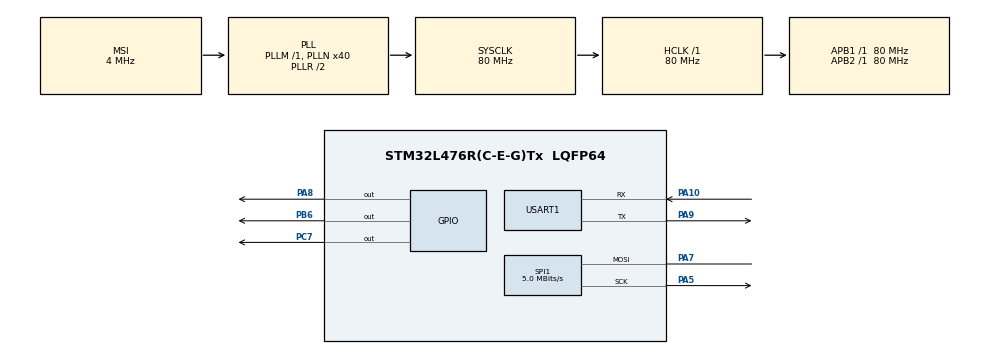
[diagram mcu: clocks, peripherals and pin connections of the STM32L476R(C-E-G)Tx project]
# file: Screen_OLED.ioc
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Mcu.Family=STM32L4
Mcu.Name=STM32L476R(C-E-G)Tx
Mcu.Package=LQFP64
NVIC.PriorityGroup=NVIC_PRIORITYGROUP_4
PA10.Mode=Asynchronous
PA10.Signal=USART1_RX
PA5.Mode=Simplex_Bidirectional_Master
PA5.Signal=SPI1_SCK
PA7.Mode=Simplex_Bidirectional_Master
PA7.Signal=SPI1_MOSI
PA8.Signal=GPIO_Output
PA9.Mode=Asynchronous
PA9.Signal=USART1_TX
PB6.Signal=GPIO_Output
PC7.Signal=GPIO_Output
PH0-OSC_IN\ (PH0).Mode=HSE-External-Oscillator
PH0-OSC_IN\ (PH0).Signal=RCC_OSC_IN
PH1-OSC_OUT\ (PH1).Mode=HSE-External-Oscillator
PH1-OSC_OUT\ (PH1).Signal=RCC_OSC_OUT
ProjectManager.HeapSize=0x200
ProjectManager.StackSize=0x400
ProjectManager.TargetToolchain=STM32CubeIDE
RCC.AHBFreq_Value=80000000
RCC.APB1Freq_Value=80000000
RCC.APB1TimFreq_Value=80000000
RCC.APB2Freq_Value=80000000
RCC.APB2TimFreq_Value=80000000
RCC.CortexFreq_Value=80000000
RCC.HCLKFreq_Value=80000000
RCC.HSE_VALUE=8000000
RCC.HSI_VALUE=16000000
RCC.LSE_VALUE=32768
RCC.MSI_VALUE=4000000
RCC.PLLN=40
RCC.SYSCLKFreq_VALUE=80000000
RCC.SYSCLKSource=RCC_SYSCLKSOURCE_PLLCLK
RCC.VCOOutputFreq_Value=160000000
SPI1.BaudRatePrescaler=SPI_BAUDRATEPRESCALER_16
SPI1.CalculateBaudRate=5.0 MBits/s
SPI1.DataSize=SPI_DATASIZE_8BIT
SPI1.Direction=SPI_DIRECTION_1LINE
SPI1.Mode=SPI_MODE_MASTER
SPI1.VirtualType=VM_MASTER
USART1.VirtualMode-Asynchronous=VM_ASYNC
board=custom

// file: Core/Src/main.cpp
/* USER CODE BEGIN Header */
/**
  ******************************************************************************
  * @file           : main.c
  * @brief          : Main program body
  ******************************************************************************
  * @attention
  *
  * <h2><center>&copy; Copyright (c) 2021 STMicroelectronics.
  * All rights reserved.</center></h2>
  *
  * This software component is licensed by ST under BSD 3-Clause license,
  * the "License"; You may not use this file except in compliance with the
  * License. You may obtain a copy of the License at:
  *                        opensource.org/licenses/BSD-3-Clause
  *
  ******************************************************************************
  */
/* USER CODE END Header */
#include <main.hpp>

SPI_HandleTypeDef hspi1;

UART_HandleTypeDef huart1;

void SystemClock_Config(void);
static void MX_GPIO_Init(void);
static void MX_SPI1_Init(void);
static void MX_USART1_UART_Init(void);

int main(void)
{

  /* MCU Configuration--------------------------------------------------------*/

  /* Reset of all peripherals, Initializes the Flash interface and the Systick. */
  HAL_Init();

  /* Configure the system clock */
  SystemClock_Config();

  /* Initialize all configured peripherals */
  MX_GPIO_Init();
  MX_SPI1_Init();
  MX_USART1_UART_Init();
  /* USER CODE BEGIN 2 */
  ST7735_Init(0);
  ST7735_FillRectangle(0,0,128,160,WHITE);

  ESP8266Interface i(&huart1);
  i.Reset();
  i.StartUp(1);
  i.Connect(SSID, PASSWORD);
  i.ConnectSocket(SOCKET_TYPE, SERVER_IP, SERVER_PORT);

  char command[] = "IP:\"%s\"";
  char buffer[20];
  sprintf(buffer, command, i.GetIP());

  i.Send(0, buffer, 20);
  i.DisconnectSocket();

  i.OpenPort("UDP", 5005);

  ST7735_WriteString(0,0, buffer, 20 ,Font_7x10,0,WHITE);

  char data[500];
  uint32_t size = 0;

  while(1){
	i.Receive(0, data, size);
	if(size > 0){
		ST7735_FillRectangle(0,0,128,160,WHITE);
		ST7735_WriteString(0,0, data, size ,Font_7x10,0,WHITE);
		size = 0;
	}
  }

  /* USER CODE END 2 */

  /* Infinite loop */
  while (1)
  {

  }
}

void SystemClock_Config(void)
{
  RCC_OscInitTypeDef RCC_OscInitStruct = {0};
  RCC_ClkInitTypeDef RCC_ClkInitStruct = {0};
  RCC_PeriphCLKInitTypeDef PeriphClkInit = {0};

  /** Initializes the RCC Oscillators according to the specified parameters
  * in the RCC_OscInitTypeDef structure.
  */
  RCC_OscInitStruct.OscillatorType = RCC_OSCILLATORTYPE_MSI;
  RCC_OscInitStruct.MSIState = RCC_MSI_ON;
  RCC_OscInitStruct.MSICalibrationValue = 0;
  RCC_OscInitStruct.MSIClockRange = RCC_MSIRANGE_6;
  RCC_OscInitStruct.PLL.PLLState = RCC_PLL_ON;
  RCC_OscInitStruct.PLL.PLLSource = RCC_PLLSOURCE_MSI;
  RCC_OscInitStruct.PLL.PLLM = 1;
  RCC_OscInitStruct.PLL.PLLN = 40;
  RCC_OscInitStruct.PLL.PLLP = RCC_PLLP_DIV7;
  RCC_OscInitStruct.PLL.PLLQ = RCC_PLLQ_DIV2;
  RCC_OscInitStruct.PLL.PLLR = RCC_PLLR_DIV2;
  if (HAL_RCC_OscConfig(&RCC_OscInitStruct) != HAL_OK)
  {
    Error_Handler();
  }
  /** Initializes the CPU, AHB and APB buses clocks
  */
  RCC_ClkInitStruct.ClockType = RCC_CLOCKTYPE_HCLK|RCC_CLOCKTYPE_SYSCLK
                              |RCC_CLOCKTYPE_PCLK1|RCC_CLOCKTYPE_PCLK2;
  RCC_ClkInitStruct.SYSCLKSource = RCC_SYSCLKSOURCE_PLLCLK;
  RCC_ClkInitStruct.AHBCLKDivider = RCC_SYSCLK_DIV1;
  RCC_ClkInitStruct.APB1CLKDivider = RCC_HCLK_DIV1;
  RCC_ClkInitStruct.APB2CLKDivider = RCC_HCLK_DIV1;

  if (HAL_RCC_ClockConfig(&RCC_ClkInitStruct, FLASH_LATENCY_4) != HAL_OK)
  {
    Error_Handler();
  }
  PeriphClkInit.PeriphClockSelection = RCC_PERIPHCLK_USART1;
  PeriphClkInit.Usart1ClockSelection = RCC_USART1CLKSOURCE_PCLK2;
  if (HAL_RCCEx_PeriphCLKConfig(&PeriphClkInit) != HAL_OK)
  {
    Error_Handler();
  }
  /** Configure the main internal regulator output voltage
  */
  if (HAL_PWREx_ControlVoltageScaling(PWR_REGULATOR_VOLTAGE_SCALE1) != HAL_OK)
  {
    Error_Handler();
  }
}

static void MX_SPI1_Init(void)
{

  /* SPI1 parameter configuration*/
  hspi1.Instance = SPI1;
  hspi1.Init.Mode = SPI_MODE_MASTER;
  hspi1.Init.Direction = SPI_DIRECTION_1LINE;
  hspi1.Init.DataSize = SPI_DATASIZE_8BIT;
  hspi1.Init.CLKPolarity = SPI_POLARITY_LOW;
  hspi1.Init.CLKPhase = SPI_PHASE_1EDGE;
  hspi1.Init.NSS = SPI_NSS_SOFT;
  hspi1.Init.BaudRatePrescaler = SPI_BAUDRATEPRESCALER_16;
  hspi1.Init.FirstBit = SPI_FIRSTBIT_MSB;
  hspi1.Init.TIMode = SPI_TIMODE_DISABLE;
  hspi1.Init.CRCCalculation = SPI_CRCCALCULATION_DISABLE;
  hspi1.Init.CRCPolynomial = 7;
  hspi1.Init.CRCLength = SPI_CRC_LENGTH_DATASIZE;
  hspi1.Init.NSSPMode = SPI_NSS_PULSE_ENABLE;
  if (HAL_SPI_Init(&hspi1) != HAL_OK)
  {
    Error_Handler();
  }

}

static void MX_USART1_UART_Init(void)
{

  huart1.Instance = USART1;
  huart1.Init.BaudRate = 460800;
  huart1.Init.WordLength = UART_WORDLENGTH_8B;
  huart1.Init.StopBits = UART_STOPBITS_1;
  huart1.Init.Parity = UART_PARITY_NONE;
  huart1.Init.Mode = UART_MODE_TX_RX;
  huart1.Init.HwFlowCtl = UART_HWCONTROL_NONE;
  huart1.Init.OverSampling = UART_OVERSAMPLING_16;
  huart1.Init.OneBitSampling = UART_ONE_BIT_SAMPLE_DISABLE;
  huart1.AdvancedInit.AdvFeatureInit = UART_ADVFEATURE_NO_INIT;
  if (HAL_UART_Init(&huart1) != HAL_OK)
  {
    Error_Handler();
  }

}

static void MX_GPIO_Init(void)
{
  GPIO_InitTypeDef GPIO_InitStruct = {0};

  /* GPIO Ports Clock Enable */
  __HAL_RCC_GPIOH_CLK_ENABLE();
  __HAL_RCC_GPIOA_CLK_ENABLE();
  __HAL_RCC_GPIOC_CLK_ENABLE();
  __HAL_RCC_GPIOB_CLK_ENABLE();

  /*Configure GPIO pin Output Level */
  HAL_GPIO_WritePin(GPIOC, GPIO_PIN_7, GPIO_PIN_RESET);

  /*Configure GPIO pin Output Level */
  HAL_GPIO_WritePin(GPIOA, GPIO_PIN_8, GPIO_PIN_RESET);

  /*Configure GPIO pin Output Level */
  HAL_GPIO_WritePin(GPIOB, GPIO_PIN_6, GPIO_PIN_RESET);

  /*Configure GPIO pin : PC7 */
  GPIO_InitStruct.Pin = GPIO_PIN_7;
  GPIO_InitStruct.Mode = GPIO_MODE_OUTPUT_PP;
  GPIO_InitStruct.Pull = GPIO_NOPULL;
  GPIO_InitStruct.Speed = GPIO_SPEED_FREQ_LOW;
  HAL_GPIO_Init(GPIOC, &GPIO_InitStruct);

  /*Configure GPIO pin : PA8 */
  GPIO_InitStruct.Pin = GPIO_PIN_8;
  GPIO_InitStruct.Mode = GPIO_MODE_OUTPUT_PP;
  GPIO_InitStruct.Pull = GPIO_NOPULL;
  GPIO_InitStruct.Speed = GPIO_SPEED_FREQ_LOW;
  HAL_GPIO_Init(GPIOA, &GPIO_InitStruct);

  /*Configure GPIO pin : PB6 */
  GPIO_InitStruct.Pin = GPIO_PIN_6;
  GPIO_InitStruct.Mode = GPIO_MODE_OUTPUT_PP;
  GPIO_InitStruct.Pull = GPIO_NOPULL;
  GPIO_InitStruct.Speed = GPIO_SPEED_FREQ_LOW;
  HAL_GPIO_Init(GPIOB, &GPIO_InitStruct);

}

void Error_Handler(void)
{
  __disable_irq();
  while (1)
  {
  }
}

/************************ (C) COPYRIGHT STMicroelectronics *****END OF FILE****/
